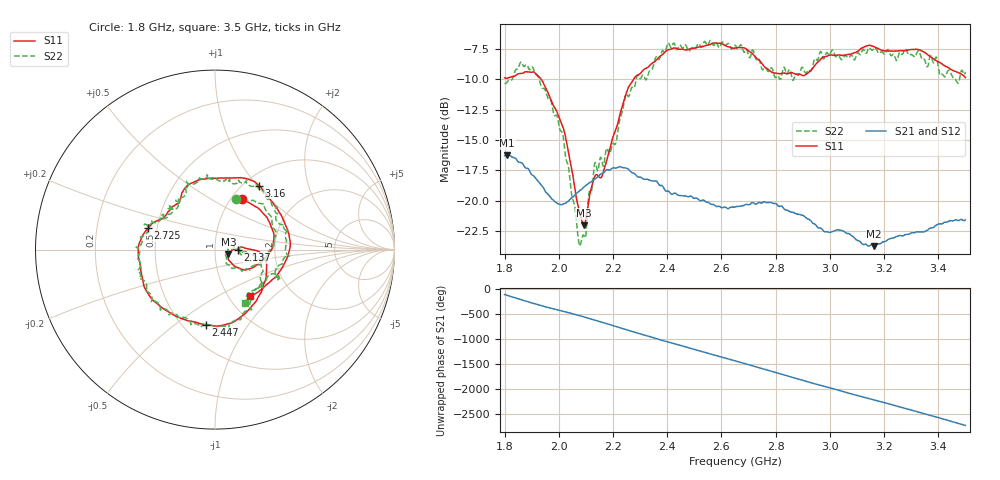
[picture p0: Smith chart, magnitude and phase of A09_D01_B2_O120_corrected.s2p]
! Created with skrf 1.9.0 (http://scikit-rf.org).
# Hz S RI R 50.0
!freq ReS11 ImS11 ReS21 ImS21 ReS12 ImS12 ReS22 ImS22
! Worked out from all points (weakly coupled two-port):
!   1601 points, 1.8 GHz to 3.5 GHz, reference 50 ohm
!   highest |S21| = -16.26 dB at 1.81 GHz (marker M1); lowest = -23.8 dB at 3.163 GHz (marker M2)
!   lowest |S11| = -22.1 dB at 2.092 GHz (marker M3), VSWR 1.17, Z = 58 - j2.94 ohm
!   |S11| at or under -10 dB: 1.935 GHz to 2.275 GHz (340.1 MHz wide, 16.2 % of centre)
!   |S22| runs from -23.7 to -6.8 dB; largest |S21 - S12| = 0.003
!   S11 on the Smith chart (normalised r, x): 1.8 GHz: 1.12, +0.71; 2.137 GHz: 1.29, -0.00; 2.447 GHz: 0.64, -0.65; 2.725 GHz: 0.45, +0.13; 3.16 GHz: 1.17, +1.02; 3.5 GHz: 1.25, -0.72
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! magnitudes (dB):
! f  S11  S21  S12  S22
! 1.8 GHz  -9.9  -16.3  -16.3  -10.3
! 1.81 GHz  -9.9  -16.3  -16.3  -10.2
! 1.865 GHz  -9.5  -16.9  -17.0  -8.7
! 1.968 GHz  -11.5  -19.7  -19.7  -11.7
! 2.02 GHz  -14.3  -20.3  -20.3  -15.4
! 2.072 GHz  -20.5  -19.3  -19.3  -23.2
! 2.084 GHz  -21.6  -19.1  -19.0  -23.2
! 2.092 GHz  -22.1  -18.9  -19.0  -22.9
! 2.137 GHz  -17.9  -18.2  -18.2  -17.0
! 2.161 GHz  -17.9  -17.8  -17.7  -17.0
! 2.208 GHz  -14.3  -17.3  -17.3  -15.4
! 2.26 GHz  -10.5  -17.5  -17.5  -11.3
! 2.367 GHz  -8.2  -18.6  -18.6  -8.3
! 2.447 GHz  -7.5  -19.6  -19.6  -7.2
! 2.65 GHz  -7.4  -20.5  -20.5  -7.2
! 2.725 GHz  -8.2  -20.3  -20.3  -8.3
! 2.81 GHz  -9.5  -20.5  -20.4  -9.8
! 2.934 GHz  -9.2  -21.8  -21.8  -9.2
! 3.16 GHz  -7.3  -23.7  -23.7  -7.5
! 3.163 GHz  -7.3  -23.8  -23.7  -7.4
! 3.217 GHz  -7.7  -23.2  -23.2  -7.6
! 3.5 GHz  -9.9  -21.6  -21.6  -9.4
